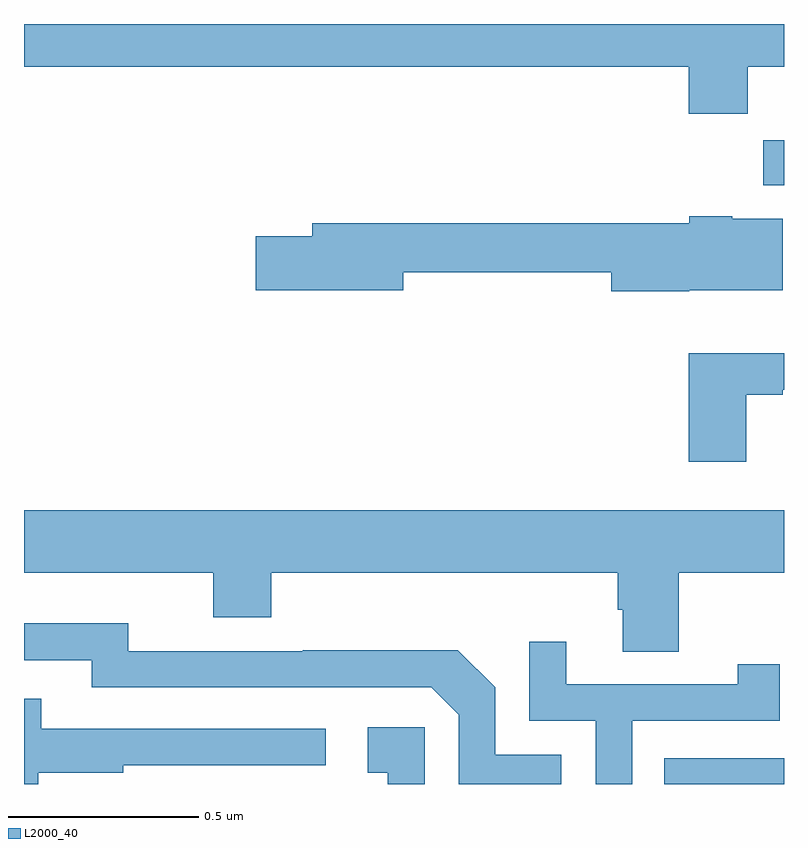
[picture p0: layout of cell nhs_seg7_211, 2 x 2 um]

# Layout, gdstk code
import gdstk
lib = gdstk.Library(unit=1e-6, precision=1e-09)
def R(c, l, rs):  # rectangles x0, y0, x1, y1
    for r in rs: c.add(gdstk.rectangle(r[:2], r[2:], *l))
def P(c, l, *ps):  # polygons
    for p in ps: c.add(gdstk.Polygon(p, *l))
L2000_40 = (2000, 40)

nhs_seg7_211 = lib.new_cell('nhs_seg7_211')
R(nhs_seg7_211, L2000_40, [(114.685,1060,115,1060.068), (114.946,1061.576,115,1061.694)])
P(nhs_seg7_211, L2000_40, [(114.905,1061.888),(115,1061.888),(115,1062),(113,1062),(113,1061.888),(114.749,1061.888),(114.749,1061.764),(114.905,1061.764)],
  [(114.75,1061.3),(114.997,1061.3),(114.997,1061.488),(114.864,1061.488),(114.864,1061.494),(114.75,1061.494),(114.75,1061.476),(113.759,1061.476),(113.759,1061.442),(113.61,1061.442),(113.61,1061.3),(113.998,1061.3),(113.998,1061.347),(114.545,1061.347),(114.545,1061.297),(114.75,1061.297)],
  [(114.901,1061.025),(114.997,1061.025),(114.997,1061.037),(115,1061.037),(115,1061.134),(114.749,1061.134),(114.749,1060.848),(114.901,1060.848)],
  [(114.723,1060.556),(115,1060.556),(115,1060.72),(113,1060.72),(113,1060.556),(113.498,1060.556),(113.498,1060.439),(113.651,1060.439),(113.651,1060.556),(114.563,1060.556),(114.563,1060.458),(114.575,1060.458),(114.575,1060.348),(114.723,1060.348)],
  [(114.414,1060.077),(114.24,1060.077),(114.24,1060.254),(114.142,1060.352),(113.734,1060.352),(113.734,1060.35),(113.274,1060.35),(113.274,1060.423),(113,1060.423),(113,1060.326),(113.178,1060.326),(113.178,1060.254),(114.072,1060.254),(114.144,1060.182),(114.144,1060),(114.414,1060)],
  [(114.6,1060.167),(114.989,1060.167),(114.989,1060.315),(114.878,1060.315),(114.878,1060.263),(114.427,1060.263),(114.427,1060.375),(114.33,1060.375),(114.33,1060.167),(114.504,1060.167),(114.504,1060),(114.6,1060)],
  [(113.038,1060.03),(113.261,1060.03),(113.261,1060.05),(113.794,1060.05),(113.794,1060.146),(113.045,1060.146),(113.045,1060.225),(113,1060.225),(113,1060),(113.038,1060)],
  [(114.054,1060.15),(113.904,1060.15),(113.904,1060.029),(113.957,1060.029),(113.957,1060),(114.054,1060)])

lib.write_gds('nhs_seg7_211.gds')
